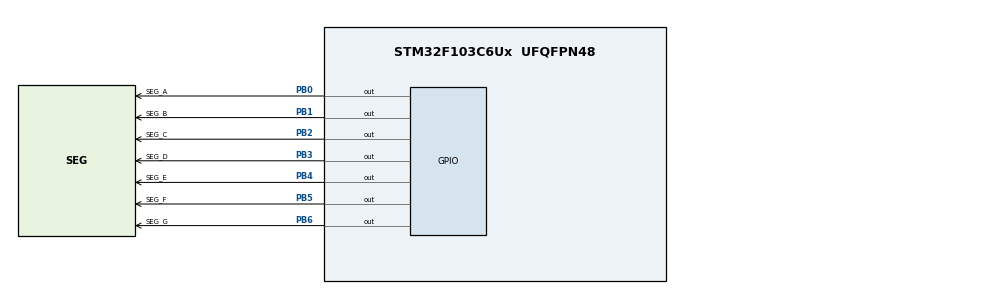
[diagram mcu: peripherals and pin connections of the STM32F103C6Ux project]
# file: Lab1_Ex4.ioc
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Mcu.Family=STM32F1
Mcu.Name=STM32F103C6Ux
Mcu.Package=UFQFPN48
NVIC.PriorityGroup=NVIC_PRIORITYGROUP_4
PB0.GPIO_Label=SEG_A
PB0.Signal=GPIO_Output
PB1.GPIO_Label=SEG_B
PB1.Signal=GPIO_Output
PB2.GPIO_Label=SEG_C
PB2.Signal=GPIO_Output
PB3.GPIO_Label=SEG_D
PB3.Signal=GPIO_Output
PB4.GPIO_Label=SEG_E
PB4.Signal=GPIO_Output
PB5.GPIO_Label=SEG_F
PB5.Signal=GPIO_Output
PB6.GPIO_Label=SEG_G
PB6.Signal=GPIO_Output
ProjectManager.HeapSize=0x200
ProjectManager.StackSize=0x400
ProjectManager.TargetToolchain=STM32CubeIDE
RCC.APB1Freq_Value=8000000
RCC.APB2Freq_Value=8000000
VP_SYS_VS_ND.Mode=No_Debug
board=custom

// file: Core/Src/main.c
/* USER CODE BEGIN Header */
/**
  ******************************************************************************
  * @file           : main.c
  * @brief          : Main program body
  ******************************************************************************
  * @attention
  *
  * <h2><center>&copy; Copyright (c) 2026 STMicroelectronics.
  * All rights reserved.</center></h2>
  *
  * This software component is licensed by ST under BSD 3-Clause license,
  * the "License"; You may not use this file except in compliance with the
  * License. You may obtain a copy of the License at:
  *                        opensource.org/licenses/BSD-3-Clause
  *
  ******************************************************************************
  */
/* USER CODE END Header */
#include "main.h"

void SystemClock_Config(void);
static void MX_GPIO_Init(void);

/* USER CODE BEGIN 0 */
/* USER CODE BEGIN 0 */
const uint8_t SEG_CODES[10] = {
    0x40,
    0x79,
    0x24,
    0x30,
    0x19,
    0x12,
    0x02,
    0x78,
    0x00,
    0x10
};

void display7SEG(int num) {
    if (num < 0 || num > 9) return;

    HAL_GPIO_WritePin(GPIOB, GPIO_PIN_0, (SEG_CODES[num] & 0x01) ? GPIO_PIN_SET : GPIO_PIN_RESET);
    HAL_GPIO_WritePin(GPIOB, GPIO_PIN_1, (SEG_CODES[num] & 0x02) ? GPIO_PIN_SET : GPIO_PIN_RESET);
    HAL_GPIO_WritePin(GPIOB, GPIO_PIN_2, (SEG_CODES[num] & 0x04) ? GPIO_PIN_SET : GPIO_PIN_RESET);
    HAL_GPIO_WritePin(GPIOB, GPIO_PIN_3, (SEG_CODES[num] & 0x08) ? GPIO_PIN_SET : GPIO_PIN_RESET);
    HAL_GPIO_WritePin(GPIOB, GPIO_PIN_4, (SEG_CODES[num] & 0x10) ? GPIO_PIN_SET : GPIO_PIN_RESET);
    HAL_GPIO_WritePin(GPIOB, GPIO_PIN_5, (SEG_CODES[num] & 0x20) ? GPIO_PIN_SET : GPIO_PIN_RESET);
    HAL_GPIO_WritePin(GPIOB, GPIO_PIN_6, (SEG_CODES[num] & 0x40) ? GPIO_PIN_SET : GPIO_PIN_RESET);
}
/* USER CODE END 0 */

int main(void)
{

  /* MCU Configuration--------------------------------------------------------*/

  /* Reset of all peripherals, Initializes the Flash interface and the Systick. */
  HAL_Init();

  /* Configure the system clock */
  SystemClock_Config();

  /* Initialize all configured peripherals */
  MX_GPIO_Init();
  /* USER CODE BEGIN 2 */
    int counter = 0;
  /* USER CODE END 2 */

  /* Infinite loop */
    while (1)
      {

    /* USER CODE BEGIN 3 */
        if (counter >= 10) counter = 0;

        display7SEG(counter++);
        HAL_Delay(1000);
      }
  /* USER CODE END 3 */
}

void SystemClock_Config(void)
{
  RCC_OscInitTypeDef RCC_OscInitStruct = {0};
  RCC_ClkInitTypeDef RCC_ClkInitStruct = {0};

  /** Initializes the RCC Oscillators according to the specified parameters
  * in the RCC_OscInitTypeDef structure.
  */
  RCC_OscInitStruct.OscillatorType = RCC_OSCILLATORTYPE_HSI;
  RCC_OscInitStruct.HSIState = RCC_HSI_ON;
  RCC_OscInitStruct.HSICalibrationValue = RCC_HSICALIBRATION_DEFAULT;
  RCC_OscInitStruct.PLL.PLLState = RCC_PLL_NONE;
  if (HAL_RCC_OscConfig(&RCC_OscInitStruct) != HAL_OK)
  {
    Error_Handler();
  }
  /** Initializes the CPU, AHB and APB buses clocks
  */
  RCC_ClkInitStruct.ClockType = RCC_CLOCKTYPE_HCLK|RCC_CLOCKTYPE_SYSCLK
                              |RCC_CLOCKTYPE_PCLK1|RCC_CLOCKTYPE_PCLK2;
  RCC_ClkInitStruct.SYSCLKSource = RCC_SYSCLKSOURCE_HSI;
  RCC_ClkInitStruct.AHBCLKDivider = RCC_SYSCLK_DIV1;
  RCC_ClkInitStruct.APB1CLKDivider = RCC_HCLK_DIV1;
  RCC_ClkInitStruct.APB2CLKDivider = RCC_HCLK_DIV1;

  if (HAL_RCC_ClockConfig(&RCC_ClkInitStruct, FLASH_LATENCY_0) != HAL_OK)
  {
    Error_Handler();
  }
}

static void MX_GPIO_Init(void)
{
  GPIO_InitTypeDef GPIO_InitStruct = {0};

  /* GPIO Ports Clock Enable */
  __HAL_RCC_GPIOB_CLK_ENABLE();

  /*Configure GPIO pin Output Level */
  HAL_GPIO_WritePin(GPIOB, SEG_A_Pin|SEG_B_Pin|SEG_C_Pin|SEG_D_Pin
                          |SEG_E_Pin|SEG_F_Pin|SEG_G_Pin, GPIO_PIN_RESET);

  /*Configure GPIO pins : SEG_A_Pin SEG_B_Pin SEG_C_Pin SEG_D_Pin
                           SEG_E_Pin SEG_F_Pin SEG_G_Pin */
  GPIO_InitStruct.Pin = SEG_A_Pin|SEG_B_Pin|SEG_C_Pin|SEG_D_Pin
                          |SEG_E_Pin|SEG_F_Pin|SEG_G_Pin;
  GPIO_InitStruct.Mode = GPIO_MODE_OUTPUT_PP;
  GPIO_InitStruct.Pull = GPIO_NOPULL;
  GPIO_InitStruct.Speed = GPIO_SPEED_FREQ_LOW;
  HAL_GPIO_Init(GPIOB, &GPIO_InitStruct);

}

void Error_Handler(void)
{
  __disable_irq();
  while (1)
  {
  }
}

/************************ (C) COPYRIGHT STMicroelectronics *****END OF FILE****/
